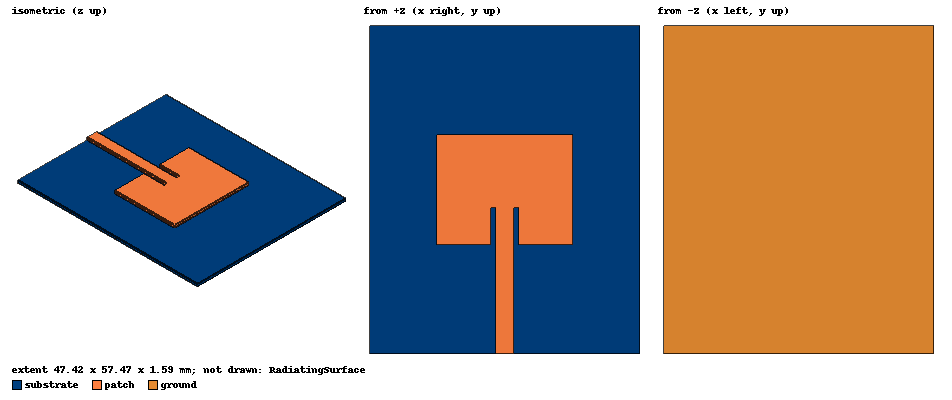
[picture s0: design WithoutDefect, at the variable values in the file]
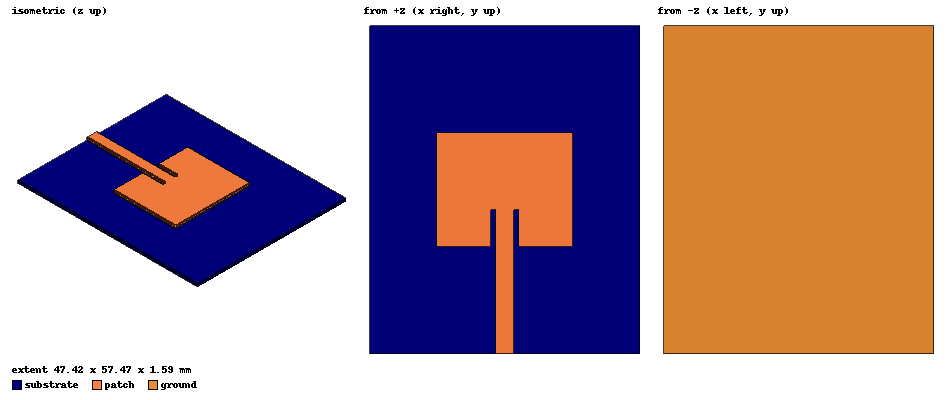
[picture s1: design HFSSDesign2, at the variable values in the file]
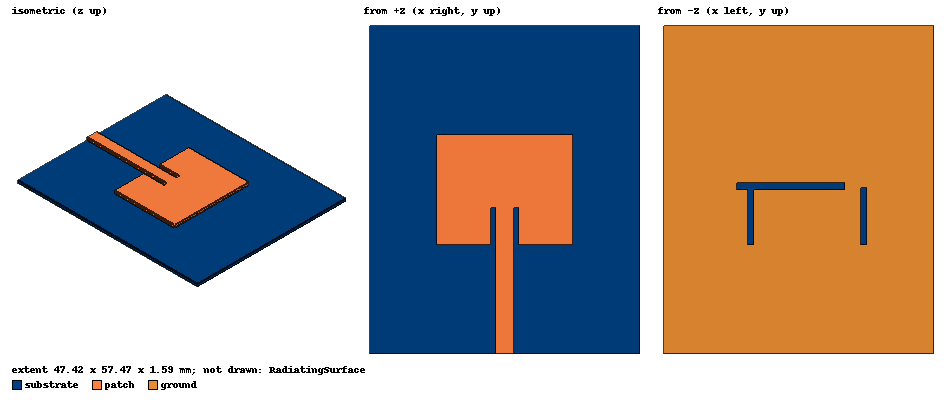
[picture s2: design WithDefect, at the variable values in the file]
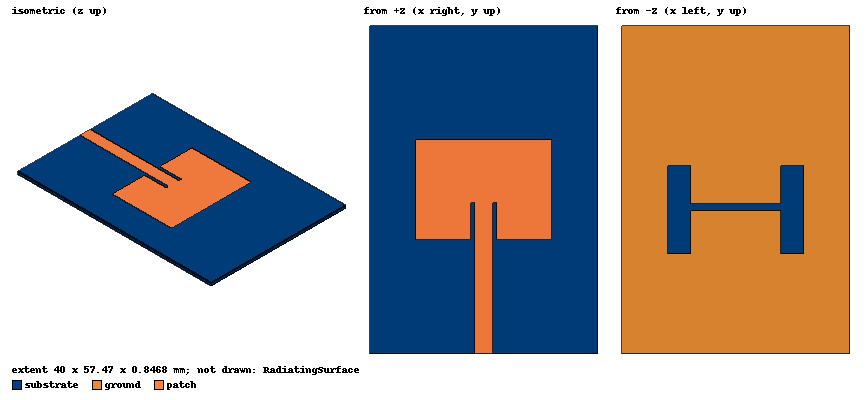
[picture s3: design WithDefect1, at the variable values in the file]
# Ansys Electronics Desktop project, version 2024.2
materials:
  vacuum: permittivity=1
  copper: permeability=0.999991 conductivity=58000000
  Rogers RT/duroid 5880 (tm): permittivity=2.2 dielectric_loss_tangent=0.0009

design WithoutDefect (HFSS, HFSS Terminal Network, model units mm)
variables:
  ws = 47.42mm
  ls = 57.474mm
  th = 0.03mm
  hs = 0.78mm
  wp = 23.71mm
  lp = 19.158mm
  wi = 5mm
  li = ls/2-lp/2
  wf = 3mm
  lf = ls/2-lp/2+6.47mm
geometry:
  ground [copper] = box(corner=(-ws/2, -ls/2, -th), size=(ws, ls, th))
  substrate [Rogers RT/duroid 5880 (tm)] = box(corner=(-ws/2, -ls/2, 0), size=(ws, ls, hs))
  patch [copper] = box(corner=(-wp/2, -lp/2, hs), size=(wp, lp, hs))
  insertfeedcut = box(corner=(-wi/2, -ls/2+6.47mm, hs), size=(wi, li, hs))
  patch.subtract(insertfeedcut)
  insertfeed = box(corner=(-wf/2, -ls/2, hs), size=(wf, lf, hs))
  patch.unite(insertfeed)
  exc = rectangle(corner=(-1.5mm, -28.737mm, 1.56mm), z_size=-1.59mm, x_size=3mm)
  RadiatingSurface [vacuum] = region(absolute_offset=20mm on all sides)
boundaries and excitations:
  Open1: Radiation Objects=RadiatingSurface
  1: Lumped Port Objects=exc LumpedPortType=Modal Modes{Mode1{IntLine{(0, -28.737, 1.56) -> (0, -28.737, 0)} CharImp=Zpi}} Impedance=50ohm
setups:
  Setup1: HfssDriven Frequency=5GHz MaxDeltaS=0.02 MaximumPasses=6 MinimumPasses=1 MinimumConvergedPasses=1 PercentRefinement=30 BasisOrder=1 PortAccuracy=2 DrivenSolverType="Direct Solver"
    sweep Sweep: 2.5GHz to 7.5GHz, 31 points; Type=Fast SaveFields
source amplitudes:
  1:1: 1V 0deg
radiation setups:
  3D: Infinite Sphere Theta=0deg..180deg step 2deg Phi=-180deg..180deg step 2deg
  Elevation: Infinite Sphere Theta=-180deg..180deg step 1deg Phi=0deg..90deg step 90deg
  Azimuth: Infinite Sphere Theta=90deg..90deg step 0deg Phi=-180deg..180deg step 1deg
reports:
  S Parameter Plot 1: dB(S(1,1)) vs Freq on Setup1 : Sweep
  Gain Plot 1: dB(GainTotal) vs Theta on Setup1 : LastAdaptive, 3D [Phi=0deg Freq=5GHz]
  Gain Plot 2: dB(GainTotal) vs Phi, Theta on Setup1 : LastAdaptive, 3D [Freq=5GHz]

design HFSSDesign2 (HFSS, HFSS Terminal Network, model units mm)
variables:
  wg = 47.42mm
  lg = 57.47mm
  hg = 0.03mm
  hs = 0.78mm
  wp = 23.71mm
  lp = 19.83mm
  wi = 5mm
  li = 6.47mm
  wf = 3mm
  lf = ls/2-lp/2+6.47mm
  ls = 57.474mm
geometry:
  ground [copper] = box(corner=(-wg/2, -lg/2, -hg), size=(wg, lg, hg))
  substrate [Rogers RT/duroid 5880 (tm)] = box(corner=(-wg/2, -lg/2, 0), size=(wg, lg, hs))
  patch [copper] = box(corner=(-wp/2, -lp/2, hs), size=(wp, lp, hs))
  insertcut = box(corner=(-wi/2, -lp/2, hs), size=(wi, li, hs))
  patch.subtract(insertcut)
  insertfeed = box(corner=(-wf/2, -ls/2, hs), size=(wf, lf, hs))
  patch.unite(insertfeed)

design WithDefect (HFSS, HFSS Terminal Network, model units mm)
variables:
  ws = 47.42mm
  ls = 57.474mm
  th = 0.03mm
  hs = 0.78mm
  wp = 23.71mm
  lp = 19.158mm
  wi = 5mm
  li = ls/2-lp/2
  wf = 3mm
  lf = ls/2-lp/2+6.47mm
  Dw = 1mm
  Dl = 10mm
  Nw = 18.855mm
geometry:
  ground [copper] = box(corner=(-ws/2, -ls/2, -th), size=(ws, ls, th))
  substrate [Rogers RT/duroid 5880 (tm)] = box(corner=(-ws/2, -ls/2, 0), size=(ws, ls, hs))
  patch [copper] = box(corner=(-wp/2, -lp/2, hs), size=(wp, lp, hs))
  insertfeedcut = box(corner=(-wi/2, -ls/2+6.47mm, hs), size=(wi, li, hs))
  patch.subtract(insertfeedcut)
  insertfeed = box(corner=(-wf/2, -ls/2, hs), size=(wf, lf, hs))
  patch.unite(insertfeed)
  exc = rectangle(corner=(-1.5mm, -28.737mm, 1.56mm), z_size=-1.59mm, x_size=3mm)
  RadiatingSurface [vacuum] = region(absolute_offset=20mm on all sides)
  Dumpbell_1 = box(corner=(-wp/2, -ls/2+lp, -th), size=(Dw, Dl, th))
  Dumpbell_2 = box(corner=(wp/2-4mm, -ls/2+lp, -th), size=(Dw, Dl, th))
  neck = box(corner=(-Dw/2-7.5mm, -Dl/2+5mm, -th), size=(Nw, 1.215mm, th))
  Dumpbell_1.unite(Dumpbell_2, neck)
  ground.subtract(Dumpbell_1)
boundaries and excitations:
  Open1: Radiation Objects=RadiatingSurface
  1: Lumped Port Objects=exc LumpedPortType=Modal Modes{Mode1{IntLine{(0, -28.737, 1.56) -> (0, -28.737, 0)} CharImp=Zpi}} Impedance=50ohm
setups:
  Setup1: HfssDriven Frequency=5GHz MaxDeltaS=0.02 MaximumPasses=6 MinimumPasses=1 MinimumConvergedPasses=1 PercentRefinement=30 BasisOrder=1 PortAccuracy=2 DrivenSolverType="Direct Solver"
    sweep Sweep: 2.5GHz to 7.5GHz, 31 points; Type=Fast SaveFields
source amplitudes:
  1:1: 1V 0deg
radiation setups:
  3D: Infinite Sphere Theta=0deg..180deg step 2deg Phi=-180deg..180deg step 2deg
  Elevation: Infinite Sphere Theta=-180deg..180deg step 1deg Phi=0deg..90deg step 90deg
  Azimuth: Infinite Sphere Theta=90deg..90deg step 0deg Phi=-180deg..180deg step 1deg
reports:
  S Parameter Plot 1: dB(S(1,1)) vs Freq on Setup1 : Sweep [Dw=all]

design WithDefect1 (HFSS, HFSS Terminal Network, model units mm)
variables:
  ws = 40mm
  ls = 57.474mm
  th = 0.03mm
  hs = 0.78mm
  wp = 23.71mm
  lp = 17.579mm
  wi = 4.5mm
  li = ls/2-lp/2
  wf = 3mm
  lf = ls/2-lp/2+6.47mm
  Dw = 4.05mm
  Dl = 15.4mm
  Nw = 0.81mm
  hp = 0.0368mm
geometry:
  ground [copper] = box(corner=(-ws/2, -ls/2, -th), size=(ws, ls, th))
  substrate [Rogers RT/duroid 5880 (tm)] = box(corner=(-ws/2, -ls/2, 0), size=(ws, ls, hs))
  patch [copper] = box(corner=(-wp/2, -lp/2, hs), size=(wp, lp, hp))
  insertfeedcut = box(corner=(-wi/2, -ls/2+6.47mm, hs), size=(wi, li, hp))
  patch.subtract(insertfeedcut)
  insertfeed = box(corner=(-wf/2, -ls/2, hs), size=(wf, lf, hp))
  patch.unite(insertfeed)
  RadiatingSurface [vacuum] = region(absolute_offset=20mm on all sides)
  Dumpbell_1 = box(corner=(-wp/2, -ls/2+lp, -th), size=(Dw, Dl, th))
  Dumpbell_2 = box(corner=(wp/2-4mm, -ls/2+lp, -th), size=(Dw, Dl, th))
  neck = box(corner=(-Dw/2-10.5mm-0.5mm+2mm-0.25mm-0.3mm, -Dl/2+5mm-1mm, -th), size=(20mm, 1.215mm, th))
  Dumpbell_1.unite(Dumpbell_2, neck)
  ground.subtract(Dumpbell_1)
  Rectangle1 = rectangle(corner=(-1.5mm, -28.737mm, 0.8168mm), z_size=-0.8468mm, x_size=3mm)
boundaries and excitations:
  Open1: Radiation Objects=RadiatingSurface
  1: Lumped Port Objects=Rectangle1 LumpedPortType=Modal Modes{Mode1{IntLine{(0, -28.737, -0.03) -> (0, -28.737, 0.8168)} CharImp=Zpi}} Impedance=50ohm
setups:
  Setup1: HfssDriven Frequency=5GHz MaxDeltaS=0.02 MaximumPasses=6 MinimumPasses=1 MinimumConvergedPasses=1 PercentRefinement=30 BasisOrder=1 PortAccuracy=2 DrivenSolverType="Direct Solver"
    sweep Sweep: 2.5GHz to 7.5GHz step 0.02GHz; Type=Fast SaveFields
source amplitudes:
  1:1: 1V 0deg
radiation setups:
  3D: Infinite Sphere Theta=0deg..180deg step 2deg Phi=-180deg..180deg step 2deg
  Elevation: Infinite Sphere Theta=-180deg..180deg step 1deg Phi=0deg..90deg step 90deg
  Azimuth: Infinite Sphere Theta=90deg..90deg step 0deg Phi=-180deg..180deg step 1deg
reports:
  S Parameter Plot 1: dB(S(1,1)) vs Freq on Setup1 : Sweep; markers m1 at 5.02GHz
  Gain Plot 1: dB(GainTotal) vs Phi, Theta on Setup1 : LastAdaptive, 3D [Freq=5GHz]
  Gain Plot 2: dB(GainTotal) vs Theta on Setup1 : LastAdaptive, 3D [Phi=0deg Freq=5GHz]
  Gain Plot 3: dB(GainTotal) vs Phi, Theta on Setup1 : LastAdaptive, Azimuth [Freq=5GHz]
  Gain Plot 4: dB(GainTotal) vs Theta on Setup1 : LastAdaptive, Elevation [Phi=0deg Freq=5GHz]
